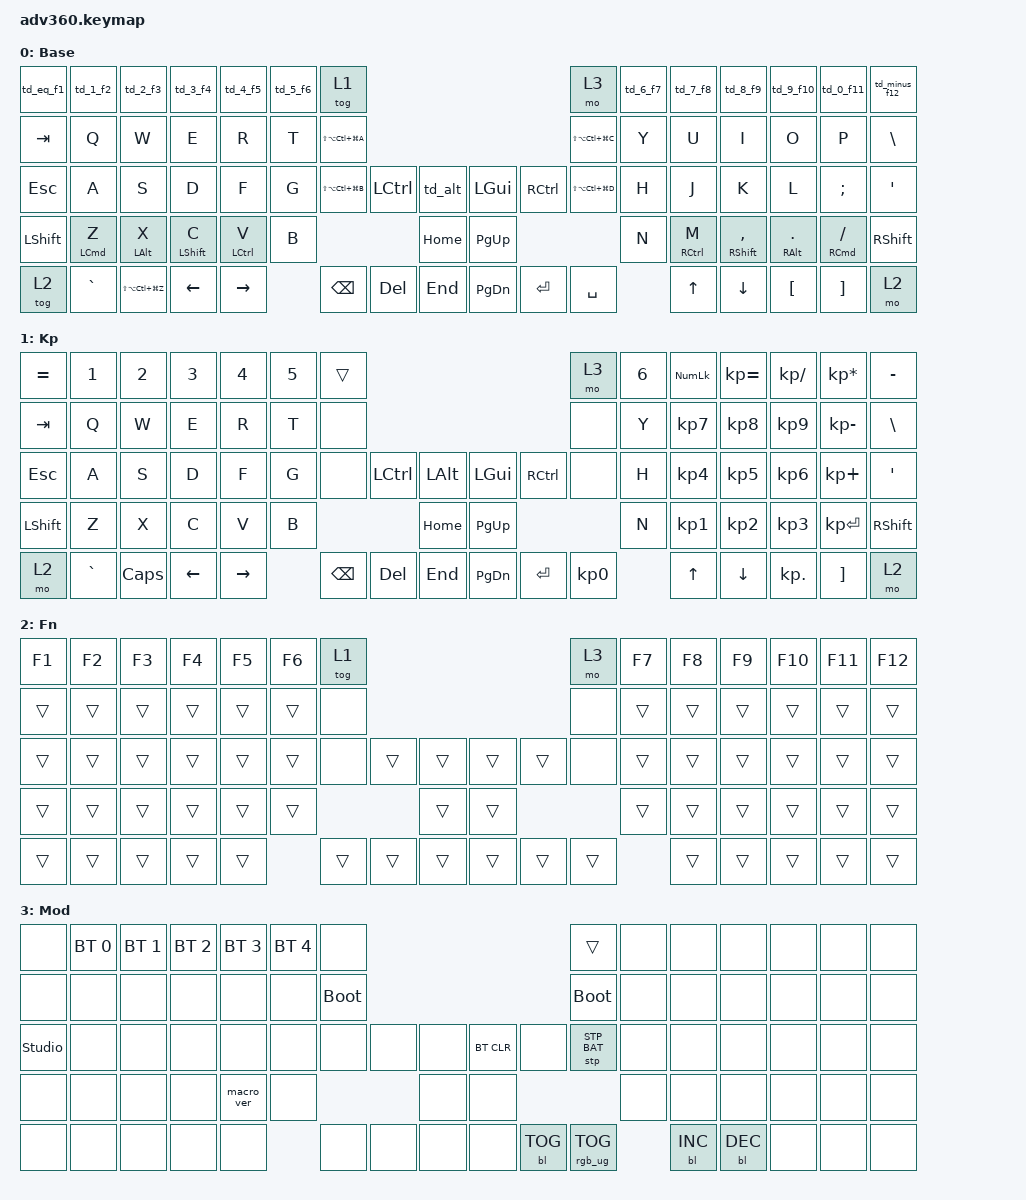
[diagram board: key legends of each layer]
#include <dt-bindings/zmk/stp.h>
#include <behaviors.dtsi>
#include <dt-bindings/zmk/backlight.h>
#include <dt-bindings/zmk/bt.h>
#include <dt-bindings/zmk/keys.h>
#include <dt-bindings/zmk/rgb.h>

#define TD_PAIR(name, tap_kc, dance_kc) \
  name: name { \
    compatible = "zmk,behavior-tap-dance"; \
    #binding-cells = <0>; \
    tapping-term-ms = <180>; \
    bindings = <&kp tap_kc>, <&kp dance_kc>; \
  };

/ {
    behaviors {
        #include "macros.dtsi"
        #include "version.dtsi"

        TD_PAIR(td_eq_f1,  EQUAL, F1)
        TD_PAIR(td_1_f2,   N1,    F2)
        TD_PAIR(td_2_f3,   N2,    F3)
        TD_PAIR(td_3_f4,   N3,    F4)
        TD_PAIR(td_4_f5,   N4,    F5)
        TD_PAIR(td_5_f6,   N5,    F6)
        TD_PAIR(td_6_f7,   N6,    F7)
        TD_PAIR(td_7_f8,   N7,    F8)
        TD_PAIR(td_8_f9,   N8,    F9)
        TD_PAIR(td_9_f10,  N9,    F10)
        TD_PAIR(td_0_f11,  N0,    F11)
        TD_PAIR(td_minus_f12, MINUS, F12)

        td_alt: td_alt {
            compatible = "zmk,behavior-tap-dance";
            #binding-cells = <0>;
            tapping-term-ms = <180>;
            bindings = <&kp LALT>, <&sk LALT>;
        };

        hm: homerow_mods {
            compatible = "zmk,behavior-hold-tap";
            label = "HOMEROW_MODS";
            #binding-cells = <2>;
            tapping-term-ms = <500>;
            quick_tap_ms = <250>;
            require-prior-idle-ms = <0>;
            flavor = "tap-preferred";
            bindings = <&single_kp_macro>, <&kp>;

            quick-tap-ms = <250>;
        };

        ctrl_shift_mod: ctrl_shift_mod {
            compatible = "zmk,behavior-hold-mods";
            #binding-cells = <0>;
            bindings = <LCTRL LSHFT>;
        };

        ctrl_alt_mod: ctrl_alt_mod {
            compatible = "zmk,behavior-hold-mods";
            #binding-cells = <0>;
            bindings = <LCTRL LALT>;
        };

        hm_cs: hm_cs {
            compatible = "zmk,behavior-hold-tap";
            label = "HM_CS";
            #binding-cells = <2>;
            tapping-term-ms = <500>;
            quick_tap_ms = <250>;
            require-prior-idle-ms = <0>;
            flavor = "tap-preferred";
            bindings = <&ctrl_shift_macro>, <&kp>;

            quick-tap-ms = <250>;
        };

        hm_ca: hm_ca {
            compatible = "zmk,behavior-hold-tap";
            label = "HM_CA";
            #binding-cells = <2>;
            tapping-term-ms = <500>;
            quick_tap_ms = <250>;
            require-prior-idle-ms = <0>;
            flavor = "tap-preferred";
            bindings = <&ctrl_alt_macro>, <&kp>;

            quick-tap-ms = <250>;
        };

        hm_mod: hm_mod {
            compatible = "zmk,behavior-hold-tap";
            label = "HM_MOD";
            #binding-cells = <2>;
            tapping-term-ms = <600>;
            quick_tap_ms = <250>;
            require-prior-idle-ms = <0>;
            flavor = "tap-preferred";
            bindings = <&kp>, <&kp>;

            quick-tap-ms = <250>;
        };
    };

    macros {
        ctrl_shift_macro: ctrl_shift_macro {
            compatible = "zmk,behavior-macro";
            #binding-cells = <0>;
            bindings = <&sk LCTRL &sk LSHFT>;
            label = "ctrl_shift_macro";
        };

        ctrl_alt_macro: ctrl_alt_macro {
            compatible = "zmk,behavior-macro";
            #binding-cells = <0>;
            bindings = <&sk LCTRL &sk LEFT_ALT>;
            label = "CTRL_ALT_MACRO";
        };

        single_kp_macro: single_kp_macro {
            compatible = "zmk,behavior-macro-one-param";
            #binding-cells = <1>;
            bindings = <&macro_param_1to1 &kp MACRO_PLACEHOLDER>;
            label = "SINGLE_KP_MACRO";
        };
    };

    keymap {
        compatible = "zmk,keymap";

        default_layer {
            display-name = "Base";
            bindings = <
&td_eq_f1  &td_1_f2  &td_2_f3  &td_3_f4  &td_4_f5  &td_5_f6  &tog 1                                                                &mo 3                  &td_6_f7  &td_7_f8  &td_8_f9  &td_9_f10  &td_0_f11  &td_minus_f12
&kp TAB       &kp Q                   &kp W                  &kp E             &kp R                   &kp T      &kp LS(LA(LC(LG(A))))                                                 &kp LS(LA(LC(LG(C))))  &kp Y      &kp U            &kp I                 &kp O             &kp P                       &kp BSLH
&kp ESC       &kp A                   &kp S                  &kp D             &kp F                   &kp G      &kp LS(LA(LC(LG(B))))  &kp LCTRL  &td_alt      &kp LGUI   &kp RCTRL  &kp LS(LA(LC(LG(D))))  &kp H      &kp J            &kp K                 &kp L             &kp SEMICOLON               &kp SQT
&kp LSHFT     &hm_mod LEFT_COMMAND Z  &hm_mod LALT X         &hm_mod LSHIFT C  &hm_mod LEFT_CONTROL V  &kp B                                        &kp HOME      &kp PG_UP                                    &kp N      &hm_mod RCTRL M  &hm_mod RSHIFT COMMA  &hm_mod RALT DOT  &hm_mod RIGHT_COMMAND FSLH  &kp RSHFT
&tog 2        &kp GRAVE               &kp LS(LA(LC(LG(Z))))  &kp LEFT          &kp RIGHT                          &kp BSPC               &kp DEL    &kp END       &kp PG_DN  &kp ENTER  &kp SPACE                         &kp UP           &kp DOWN              &kp LBKT          &kp RBKT                    &mo 2
            >;
        };

        keypad {
            display-name = "Kp";
            bindings = <
&kp EQUAL  &kp N1     &kp N2    &kp N3    &kp N4     &kp N5  &trans                                                   &mo 3      &kp N6  &kp KP_NUM  &kp KP_EQUAL  &kp KP_DIVIDE  &kp KP_MULTIPLY  &kp MINUS
&kp TAB    &kp Q      &kp W     &kp E     &kp R      &kp T   &none                                                    &none      &kp Y   &kp KP_N7   &kp KP_N8     &kp KP_N9      &kp KP_MINUS     &kp BSLH
&kp ESC    &kp A      &kp S     &kp D     &kp F      &kp G   &none     &kp LCTRL  &kp LALT      &kp LGUI   &kp RCTRL  &none      &kp H   &kp KP_N4   &kp KP_N5     &kp KP_N6      &kp KP_PLUS      &kp SQT
&kp LSHFT  &kp Z      &kp X     &kp C     &kp V      &kp B                        &kp HOME      &kp PG_UP                        &kp N   &kp KP_N1   &kp KP_N2     &kp KP_N3      &kp KP_ENTER     &kp RSHFT
&mo 2      &kp GRAVE  &kp CAPS  &kp LEFT  &kp RIGHT          &kp BSPC  &kp DEL    &kp END       &kp PG_DN  &kp ENTER  &kp KP_N0          &kp UP      &kp DOWN      &kp KP_DOT     &kp RBKT         &mo 2
            >;
        };

        fn {
            display-name = "Fn";
            bindings = <
&kp F1  &kp F2  &kp F3  &kp F4  &kp F5  &kp F6  &tog 1                                      &mo 3   &kp F7  &kp F8  &kp F9  &kp F10  &kp F11  &kp F12
&trans  &trans  &trans  &trans  &trans  &trans  &none                                       &none   &trans  &trans  &trans  &trans   &trans   &trans
&trans  &trans  &trans  &trans  &trans  &trans  &none   &trans  &trans      &trans  &trans  &none   &trans  &trans  &trans  &trans   &trans   &trans
&trans  &trans  &trans  &trans  &trans  &trans                  &trans      &trans                  &trans  &trans  &trans  &trans   &trans   &trans
&trans  &trans  &trans  &trans  &trans          &trans  &trans  &trans      &trans  &trans  &trans          &trans  &trans  &trans   &trans   &trans
            >;
        };

        mod {
            display-name = "Mod";
            bindings = <
&none           &bt BT_SEL 0  &bt BT_SEL 1  &bt BT_SEL 2  &bt BT_SEL 3  &bt BT_SEL 4  &none                                                  &trans           &none  &none       &none       &none  &none  &none
&none           &none         &none         &none         &none         &none         &bootloader                                            &bootloader      &none  &none       &none       &none  &none  &none
&studio_unlock  &none         &none         &none         &none         &none         &none        &none  &none      &bt BT_CLR  &none       &stp STP_BAT     &none  &none       &none       &none  &none  &none
&none           &none         &none         &none         &macro_ver    &none                             &none      &none                                    &none  &none       &none       &none  &none  &none
&none           &none         &none         &none         &none                       &none        &none  &none      &none       &bl BL_TOG  &rgb_ug RGB_TOG         &bl BL_INC  &bl BL_DEC  &none  &none  &none
            >;
        };

        extra1 {
            display-name = "Red";
            status = "reserved";
        };

        extra2 {
            display-name = "Purple";
            status = "reserved";
        };

        extra3 {
            display-name = "Cyan";
            status = "reserved";
        };

        extra4 {
            display-name = "Yellow";
            status = "reserved";
        };
    };
};
